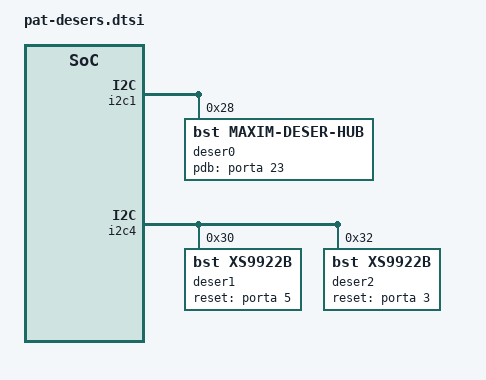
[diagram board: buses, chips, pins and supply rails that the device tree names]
/*
   default deser config for pat
*/

&i2c1 {
    #address-cells = <1>;
    #size-cells = <0>;

    deser0: max96712@28 {
        compatible = "bst,maxim-deser-hub";
        type = "max96712";
        reg = <0x28>;
        i2c-port = <0>;
        csi2-port = <0>;
        lane-speed = <1600>;
        regs = <0x40>;
        data-type = <0x2d>;
        trigger-mode = <1>;                 /*0:default,1:internal,2:external*/
        trigger-fps = <20>;
        trigger-rx-gpio = <1>;
        maxim,hsync-invert = <0>;
        maxim,vsync-invert = <0>;
        maxim,link-mode = "GMSL2";
        pdb-gpio = <&porta 23 0>;
    };

};


&i2c4 {
    #address-cells = <1>;
    #size-cells = <0>;

    
    deser1: XS9922@30 {
        compatible = "bst,xs9922b";
        reg = <0x30>;
        reset-gpio = <&porta 5 0>;
        /*mode = <0x03>;*//*DMS*/
        mode = <0x01>;/*CeShi*/
     };

    deser2: XS9922@32 {
        compatible = "bst,xs9922b";
        reg = <0x32>;
        reset-gpio = <&porta 3 0>;
        mode = <0x03>;
     };

};

#include "../common/a1000b-deser.dtsi"
